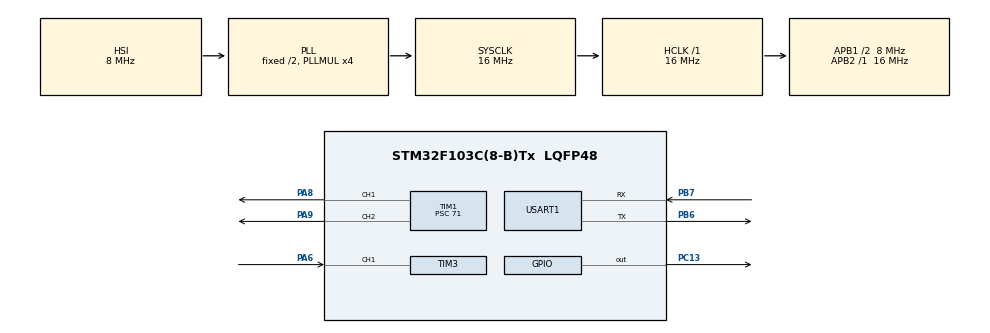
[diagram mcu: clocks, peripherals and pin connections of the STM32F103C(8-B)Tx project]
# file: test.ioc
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Mcu.Family=STM32F1
Mcu.Name=STM32F103C(8-B)Tx
Mcu.Package=LQFP48
NVIC.PriorityGroup=NVIC_PRIORITYGROUP_4
NVIC.TIM2_IRQn=true\:1\:0\:true\:false\:true\:true\:true\:true
NVIC.TIM3_IRQn=true\:2\:0\:true\:false\:true\:true\:true\:true
NVIC.USART1_IRQn=true\:3\:0\:true\:false\:true\:true\:true\:true
PA13.Mode=Serial_Wire
PA13.Signal=SYS_JTMS-SWDIO
PA14.Mode=Serial_Wire
PA14.Signal=SYS_JTCK-SWCLK
PA6.Signal=S_TIM3_CH1
PA8.Signal=S_TIM1_CH1
PA9.Signal=S_TIM1_CH2
PB6.Mode=Asynchronous
PB6.Signal=USART1_TX
PB7.Mode=Asynchronous
PB7.Signal=USART1_RX
PC13-TAMPER-RTC.Signal=GPIO_Output
ProjectManager.HeapSize=0x200
ProjectManager.StackSize=0x400
ProjectManager.TargetToolchain=CMake
RCC.AHBFreq_Value=16000000
RCC.APB1CLKDivider=RCC_HCLK_DIV2
RCC.APB1Freq_Value=8000000
RCC.APB1TimFreq_Value=16000000
RCC.APB2Freq_Value=16000000
RCC.APB2TimFreq_Value=16000000
RCC.HCLKFreq_Value=16000000
RCC.PLLMUL=RCC_PLL_MUL4
RCC.SYSCLKFreq_VALUE=16000000
RCC.SYSCLKSource=RCC_SYSCLKSOURCE_PLLCLK
RCC.USBFreq_Value=16000000
SH.S_TIM1_CH1.0=TIM1_CH1,PWM Generation1 CH1
SH.S_TIM1_CH2.0=TIM1_CH2,PWM Generation2 CH2
SH.S_TIM3_CH1.0=TIM3_CH1,Input_Capture1_from_TI1
TIM1.Channel-PWM\ Generation1\ CH1=TIM_CHANNEL_1
TIM1.Channel-PWM\ Generation2\ CH2=TIM_CHANNEL_2
TIM1.Period=19999
TIM1.Prescaler=71
TIM1.Pulse-PWM\ Generation1\ CH1=1500
TIM1.Pulse-PWM\ Generation2\ CH2=1500
TIM2.Period=9
TIM2.Prescaler=7199
TIM3.Channel-Input_Capture1_from_TI1=TIM_CHANNEL_1
TIM3.Prescaler=71
USART1.VirtualMode=VM_ASYNC
VP_TIM1_VS_ClockSourceINT.Mode=Internal
VP_TIM2_VS_ClockSourceINT.Mode=Internal
VP_TIM3_VS_ClockSourceINT.Mode=Internal
board=custom

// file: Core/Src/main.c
/* USER CODE BEGIN Header */
/**
  ******************************************************************************
  * @file           : main.c
  * @brief          : Main program body
  ******************************************************************************
  * @attention
  *
  * Copyright (c) 2025 STMicroelectronics.
  * All rights reserved.
  *
  * This software is licensed under terms that can be found in the LICENSE file
  * in the root directory of this software component.
  * If no LICENSE file comes with this software, it is provided AS-IS.
  *
  ******************************************************************************
  */
/* USER CODE END Header */
#include "main.h"
#include "tim.h"
#include "usart.h"
#include "gpio.h"

/* USER CODE BEGIN Includes */
#include <math.h>
#include <string.h>
/* USER CODE END Includes */

/* USER CODE BEGIN PV */
// 定义舵机
typedef struct {
  TIM_HandleTypeDef* htim;
  uint32_t channel;
} Servo_t;

Servo_t servo_A0 = {&htim1, TIM_CHANNEL_1};
Servo_t servo_A1 = {&htim1, TIM_CHANNEL_2};

// 数组用来保存遥控器接收值
int datachan[10];
int x, y, chx;                      // 遥控接收程序中用到的变量
int channel1;                       // 通道1
int channel2;                       // 通道2
int channel3;                       // 通道3
int channel4;                       // 通道4
int channel5;                       // 通道5
int channel6;                       // 通道6
int channel7;                       // 通道7
int pulsewidth_0;                   // 舵机控制函数舵机的脉冲宽500-2500
int pulsewidth_1;                   // 舵机控制函数舵机的脉冲宽500-2500
int servoC_0;                       // 舵机A0中间值一般在1500左右
int servoC_1;                       // 舵机A1中间值一般在1500左右
int fd, pj, cs, sj, c5, c6;         // 幅度,偏角,差速,升降,c5c6用于微调舵机初始位置。
int hx;                             // 滑翔角度
float ys;                           // 延时,
int fly = 0;                        // 起飞标志位

// PPM信号解析变量
volatile uint32_t last_capture = 0;
volatile uint8_t channel_count = 0;
/* USER CODE END PV */

void SystemClock_Config(void);
/* USER CODE BEGIN PFP */
void dataget(void);
void do_sv(void);
void writeMicroseconds(Servo_t* servo, int pulse);
int abs_val(int x);
/* USER CODE END PFP */

/* USER CODE BEGIN 0 */
// abs函数,控制遥控器死区
int abs_val(int x) {
  return (x < 0) ? -x : x;
}

// 舵机控制函数 - 替代Arduino的writeMicroseconds
void writeMicroseconds(Servo_t* servo, int pulse) {
  __HAL_TIM_SET_COMPARE(servo->htim, servo->channel, pulse);
}

// 通过控制脉冲宽度来控制舵机的角度
void do_sv() {
  writeMicroseconds(&servo_A0, pulsewidth_0);
  writeMicroseconds(&servo_A1, pulsewidth_1);
}

// 获取ppm函数 - 替代原来的pulseIn
void dataget() {
  // 这里简化处理，直接使用中断捕获的数据
  for(x = 0; x < 8; x++) {
    // datachan数组会在中断中被填充
  }
}

// map函数实现
int map_func(int value, int in_min, int in_max, int out_min, int out_max) {
  return (value - in_min) * (out_max - out_min) / (in_max - in_min) + out_min;
}

// 延时函数（微秒级）
void delayMicroseconds(int us) {
  // 简单的延时实现
  volatile int count = us * 18; // 大概的延时循环
  while(count--);
}

// 串口重定向
int _write(int file, char *ptr, int len) {
  HAL_UART_Transmit(&huart1, (uint8_t*)ptr, len, HAL_MAX_DELAY);
  return len;
}
/* USER CODE END 0 */

int main(void)
{

  /* MCU Configuration--------------------------------------------------------*/

  /* Reset of all peripherals, Initializes the Flash interface and the Systick. */
  HAL_Init();

  /* Configure the system clock */
  SystemClock_Config();

  /* Initialize all configured peripherals */
  MX_GPIO_Init();
  MX_TIM1_Init();
  MX_TIM2_Init();
  MX_TIM3_Init();
  MX_USART1_UART_Init();
  /* USER CODE BEGIN 2 */
    //Serial.begin(115200);               //开启后可进行串口调试
    HAL_TIM_PWM_Start(&htim1, TIM_CHANNEL_1);   // 舵机端口A0
    HAL_TIM_PWM_Start(&htim1, TIM_CHANNEL_2);   // 舵机端口A1

    servoC_0 = 1500;                            // 舵机A0角度初始值
    servoC_1 = 1500;                            // 舵机A1角度初始值
    fd = 500;                                   // 幅度初始值500
    ys = 10000;                                 // 延时初始值10000单位微秒
    pj = 0;                                     // 偏角初始0
    cs = 0;                                     // 差速初始0
    sj = 0;                                     // 升降初始0

    pulsewidth_0 = servoC_0;                    // 舵机A0脉冲宽度设为初始值
    pulsewidth_1 = servoC_1;                    // 舵机A0脉冲宽度设为初始值
    writeMicroseconds(&servo_A0, pulsewidth_0); // 输出相应脉冲宽度控制舵机A0
    writeMicroseconds(&servo_A1, pulsewidth_1); // 输出相应脉冲宽度控制舵机A1
    HAL_Delay(3000);                            // 等待三秒

    // 启动PPM输入捕获
    HAL_TIM_IC_Start_IT(&htim3, TIM_CHANNEL_1);

  /* USER CODE END 2 */

  /* Infinite loop */
  while (1)
  {

    /* USER CODE BEGIN 3 */
      // 主程序重复执行 - 对应Arduino的loop()
    dataget();                                        // 采集接收机返回值
    channel1 = datachan[0];                          // 将1通道返回值保存在变量channel1
    channel2 = datachan[1];                          // 将2通道返回值保存在变量channel2
    channel3 = datachan[2];                          // 将3通道返回值保存在变量channel3
    channel4 = datachan[3];                          // 将4通道返回值保存在变量channel4
    channel5 = datachan[4];                          // 将5通道返回值保存在变量channel5
    channel6 = datachan[5];                          // 将6通道返回值保存在变量channel6
    channel7 = datachan[6];                          // 将71通道返回值保存在变量channel7

    //pj=map(channel4,595,1595,-250,250);                       //映射通道四的值用于控制偏角左倾或右倾 此处仿生蝴蝶不用扑翼机可以用
    sj = map_func(channel2, 595, 1595, -100, 100);
    if(abs_val(sj) < 5) sj = 0;      // 映射通道2 的值给变量sj 用于控制蝴蝶升降 sj范围是-100到100
    ys = map_func(channel3, 595, 1595, 10000, 8500);       // 映射通道3 的值给变量ys 用于控制蝴蝶扑翼频率 ys范围是10000到8500
    cs = map_func(channel1, 595, 1595, -150, 150);
    if(abs_val(cs) < 5) cs = 0;       // 映射通道1 的值给变量cs 用于控制蝴蝶两侧幅度差异 可以控制转向 cs范围是-150到150
    c5 = map_func(channel5, 595, 1595, 0, 200);           // 映射通道5 的值给变量c5 用于控制A0舵机初始位置
    c6 = map_func(channel6, 595, 1595, 0, 200);           // 映射通道6 的值给变量c6 用于控制A1舵机初始位置
    servoC_0 = 1500 + c5;                                          // 通过旋钮来微调舵机A0初始位置
    servoC_1 = 1500 - c6;                                          // 通过旋钮来微调舵机A1初始位置

    if(channel7 > 1200)                                            // 通道7为三挡  分别控制三种幅度分别是  600  700  800
        fd = 400;                                                    //
    else if(700 < channel7 && channel7 < 1200)                       //
        fd = 450;                                                    //
    else if(channel7 < 700)
        fd = 500;                              //

    if(ys > 9000)                                                    // 当通道3在最下端时映射ys的值为10000左右  这时候fly为0 当ys小于9000时fly为1，启动
        fly = 0;                                                            //
    else if(ys < 9100)
        fly = 1;                                                     //

    if(!fly) {                                                         // fly为0时不启动
        pulsewidth_0 = servoC_0 - sj - cs * 2;                                         //
        pulsewidth_1 = servoC_1 + sj - cs * 2;                                            // 在不启动时只能通过通道2来控制升降cs在静止时控制倾角
        do_sv();                                                    // 舵机按照上面的值进行执行
    }

    if(fly) {                                                           // fly为1时启动
        // 将扑翼的半个周期分为18份分别是 cos0 cos10 cos20 cos30...cos170
        for (int i = 0; i < 18; i++) {
            // y=Acos(wx）+h     其中A控制了余弦函数的幅度  h控制了余弦函数的0点位置
            pulsewidth_0 = (servoC_0 - sj) - (fd + cs) * cos((10 * i) / 180.0 * 3.14);
            pulsewidth_1 = (servoC_1 + sj) + (fd - cs) * cos((10 * i) / 180.0 * 3.14);     // 通过改变参数来实现控制舵机扑翼的各种动作
            do_sv();                                                         // 将计算好的数值即脉冲宽度给舵机 执行相应的角度
            delayMicroseconds((int)ys);            // ys越小 半个周期的时间越短 速度就越快实现了通道3控制频率
        }                                                                  //

        for (int i = 18; i > 0; i--) {
            pulsewidth_0 = (servoC_0 - sj) - (fd + cs) * cos((10 * i) / 180.0 * 3.14);               //
            pulsewidth_1 = (servoC_1 + sj) + (fd - cs) * cos((10 * i) / 180.0 * 3.14);               //
            do_sv();                                                            //
            delayMicroseconds((int)ys);                      //
        }
    }

    //Serial.println(pj);//偏角
    //Serial.println(ys);//延时
    //Serial.println(fd);//幅度
    //Serial.println(cs);//差速
    //Serial.println(sj);//升降
    //Serial.println(hx);//滑翔角度
    //Serial.println(pulsewidth_0);

  }
  /* USER CODE END 3 */
}

void SystemClock_Config(void)
{
  RCC_OscInitTypeDef RCC_OscInitStruct = {0};
  RCC_ClkInitTypeDef RCC_ClkInitStruct = {0};

  /** Initializes the RCC Oscillators according to the specified parameters
  * in the RCC_OscInitTypeDef structure.
  */
  RCC_OscInitStruct.OscillatorType = RCC_OSCILLATORTYPE_HSI;
  RCC_OscInitStruct.HSIState = RCC_HSI_ON;
  RCC_OscInitStruct.HSICalibrationValue = RCC_HSICALIBRATION_DEFAULT;
  RCC_OscInitStruct.PLL.PLLState = RCC_PLL_ON;
  RCC_OscInitStruct.PLL.PLLSource = RCC_PLLSOURCE_HSI_DIV2;
  RCC_OscInitStruct.PLL.PLLMUL = RCC_PLL_MUL4;
  if (HAL_RCC_OscConfig(&RCC_OscInitStruct) != HAL_OK)
  {
    Error_Handler();
  }

  /** Initializes the CPU, AHB and APB buses clocks
  */
  RCC_ClkInitStruct.ClockType = RCC_CLOCKTYPE_HCLK|RCC_CLOCKTYPE_SYSCLK
                              |RCC_CLOCKTYPE_PCLK1|RCC_CLOCKTYPE_PCLK2;
  RCC_ClkInitStruct.SYSCLKSource = RCC_SYSCLKSOURCE_PLLCLK;
  RCC_ClkInitStruct.AHBCLKDivider = RCC_SYSCLK_DIV1;
  RCC_ClkInitStruct.APB1CLKDivider = RCC_HCLK_DIV2;
  RCC_ClkInitStruct.APB2CLKDivider = RCC_HCLK_DIV1;

  if (HAL_RCC_ClockConfig(&RCC_ClkInitStruct, FLASH_LATENCY_0) != HAL_OK)
  {
    Error_Handler();
  }
}

/* USER CODE BEGIN 4 */
// PPM输入捕获中断回调 - 替代原来的pulseIn函数
void HAL_TIM_IC_CaptureCallback(TIM_HandleTypeDef *htim) {
    if (htim->Instance == TIM3) {
        uint32_t current_capture = HAL_TIM_ReadCapturedValue(htim, TIM_CHANNEL_1);
        uint32_t pulse_width;

        if (current_capture >= last_capture) {
            pulse_width = current_capture - last_capture;
        } else {
            pulse_width = (0xFFFF - last_capture) + current_capture;
        }

        if (pulse_width > 5000) {  // 结束脉冲较大一般大于5000
            channel_count = 0;
        } else if (channel_count < 8) {
            datachan[channel_count++] = pulse_width;  // 将这8个脉冲分别保存在数组中
        }

        last_capture = current_capture;
    }
}
/* USER CODE END 4 */

void Error_Handler(void)
{
  __disable_irq();
  while (1)
  {
  }
}
